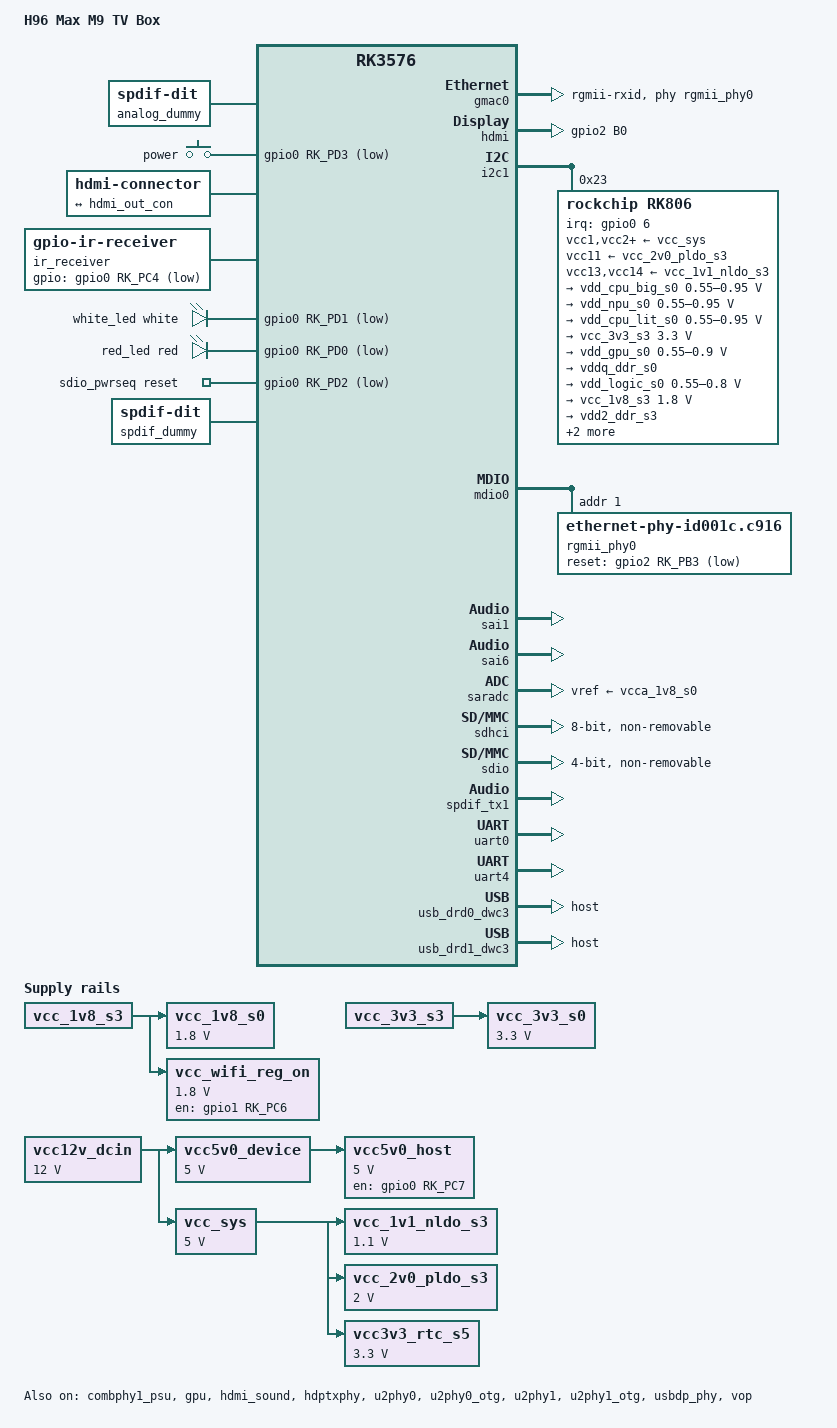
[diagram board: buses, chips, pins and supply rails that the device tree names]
// SPDX-License-Identifier: (GPL-2.0+ OR MIT)
/*
 * Copyright (c) 2024 Rockchip Electronics Co., Ltd.
 *
 * H96 MAX M9 and M9S, an RK3576 TV box. Storage is eMMC only: the microSD
 * footprint is not populated. Wi-Fi and Bluetooth are an AIC8800D80 on SDIO
 * and UART4.
 */

/dts-v1/;

#include <dt-bindings/gpio/gpio.h>
#include <dt-bindings/input/input.h>
#include <dt-bindings/leds/common.h>
#include <dt-bindings/pinctrl/rockchip.h>
#include <dt-bindings/soc/rockchip,boot-mode.h>
#include <dt-bindings/soc/rockchip,vop2.h>
#include "rk3576.dtsi"

/ {
	model = "H96 Max M9 TV Box";
	compatible = "haochuangyi,h96-max-m9", "rockchip,rk3576";

	aliases {
		ethernet0 = &gmac0;
	};

	/*
	 * The analog jack's HT5010 codec has no control interface, so a
	 * dummy codec stands in for it.
	 */
	analog_dummy: analog-codec {
		compatible = "linux,spdif-dit";
		#sound-dai-cells = <0>;
	};

	analog_sound: analog-sound {
		compatible = "simple-audio-card";
		simple-audio-card,name = "H96 Analog";
		simple-audio-card,format = "i2s";
		simple-audio-card,mclk-fs = <256>;

		/*
		 * Nothing else enables the MCLK output gate. This reference
		 * holds it on while the card is open.
		 */
		simple-audio-card,cpu {
			sound-dai = <&sai1>;
			clocks = <&cru CLK_SAI1_MCLKOUT_TO_IO>;
		};

		simple-audio-card,codec {
			sound-dai = <&analog_dummy>;
		};
	};

	chosen: chosen {
		stdout-path = "serial0:1500000n8";
	};

	/*
	 * No button is fitted to this input. The bundled remote's POWER key
	 * wakes the box through it.
	 */
	gpio_keys: gpio-keys {
		compatible = "gpio-keys";
		pinctrl-names = "default";
		pinctrl-0 = <&pwr_key>;

		key-power {
			debounce-interval = <100>;
			gpios = <&gpio0 RK_PD3 GPIO_ACTIVE_LOW>;
			label = "power";
			linux,code = <KEY_POWER>;
			wakeup-source;
		};
	};

	hdmi-con {
		compatible = "hdmi-connector";
		type = "a";

		port {
			hdmi_con_in: endpoint {
				remote-endpoint = <&hdmi_out_con>;
			};
		};
	};

	/*
	 * IR receiver. The bundled remote is RF, not IR, but other H96 IR
	 * remotes work. Mainline has no driver for the PWM IR capture block,
	 * so the pin is a GPIO and rc-core decodes the frames.
	 */
	ir_receiver: ir-receiver {
		compatible = "gpio-ir-receiver";
		gpios = <&gpio0 RK_PC4 GPIO_ACTIVE_LOW>;
		linux,rc-map-name = "rc-empty";
		pinctrl-names = "default";
		pinctrl-0 = <&ir_receiver_pin>;
	};

	leds: leds {
		compatible = "gpio-leds";

		white_led: led-0 {
			color = <LED_COLOR_ID_WHITE>;
			default-state = "on";
			function = LED_FUNCTION_POWER;
			gpios = <&gpio0 RK_PD1 GPIO_ACTIVE_LOW>;
		};

		red_led: led-1 {
			color = <LED_COLOR_ID_RED>;
			default-state = "off";
			function = LED_FUNCTION_STANDBY;
			gpios = <&gpio0 RK_PD0 GPIO_ACTIVE_LOW>;
		};
	};

	vcc_1v1_nldo_s3: regulator-vcc-1v1-nldo-s3 {
		compatible = "regulator-fixed";
		regulator-name = "vcc_1v1_nldo_s3";
		regulator-boot-on;
		regulator-always-on;
		regulator-min-microvolt = <1100000>;
		regulator-max-microvolt = <1100000>;
		vin-supply = <&vcc_sys>;
	};

	vcc_1v8_s0: regulator-vcc-1v8-s0 {
		compatible = "regulator-fixed";
		regulator-name = "vcc_1v8_s0";
		regulator-boot-on;
		regulator-always-on;
		regulator-min-microvolt = <1800000>;
		regulator-max-microvolt = <1800000>;
		vin-supply = <&vcc_1v8_s3>;
	};

	vcc_2v0_pldo_s3: regulator-vcc-2v0-pldo-s3 {
		compatible = "regulator-fixed";
		regulator-name = "vcc_2v0_pldo_s3";
		regulator-boot-on;
		regulator-always-on;
		regulator-min-microvolt = <2000000>;
		regulator-max-microvolt = <2000000>;
		vin-supply = <&vcc_sys>;
	};

	vcc_3v3_s0: regulator-vcc-3v3-s0 {
		compatible = "regulator-fixed";
		regulator-name = "vcc_3v3_s0";
		regulator-boot-on;
		regulator-always-on;
		regulator-min-microvolt = <3300000>;
		regulator-max-microvolt = <3300000>;
		vin-supply = <&vcc_3v3_s3>;
	};

	vcc12v_dcin: regulator-vcc12v-dcin {
		compatible = "regulator-fixed";
		regulator-name = "vcc12v_dcin";
		regulator-always-on;
		regulator-boot-on;
		regulator-min-microvolt = <12000000>;
		regulator-max-microvolt = <12000000>;
	};

	vcc3v3_rtc_s5: regulator-vcc3v3-rtc-s5 {
		compatible = "regulator-fixed";
		regulator-name = "vcc3v3_rtc_s5";
		regulator-boot-on;
		regulator-always-on;
		regulator-min-microvolt = <3300000>;
		regulator-max-microvolt = <3300000>;
		vin-supply = <&vcc_sys>;
	};

	vcc5v0_device: regulator-vcc5v0-device {
		compatible = "regulator-fixed";
		regulator-name = "vcc5v0_device";
		regulator-always-on;
		regulator-boot-on;
		regulator-min-microvolt = <5000000>;
		regulator-max-microvolt = <5000000>;
		vin-supply = <&vcc12v_dcin>;
	};

	vcc5v0_host: regulator-vcc5v0-host {
		compatible = "regulator-fixed";
		regulator-name = "vcc5v0_host";
		regulator-boot-on;
		regulator-always-on;
		regulator-min-microvolt = <5000000>;
		regulator-max-microvolt = <5000000>;
		enable-active-high;
		gpios = <&gpio0 RK_PC7 GPIO_ACTIVE_HIGH>;
		pinctrl-names = "default";
		pinctrl-0 = <&usb_host_pwren>;
		vin-supply = <&vcc5v0_device>;
	};

	vcc_sys: regulator-vcc5v0-sys {
		compatible = "regulator-fixed";
		regulator-name = "vcc_sys";
		regulator-always-on;
		regulator-boot-on;
		regulator-min-microvolt = <5000000>;
		regulator-max-microvolt = <5000000>;
		vin-supply = <&vcc12v_dcin>;
	};

	vcc_wifi_reg_on: regulator-wifi-reg-on {
		compatible = "regulator-fixed";
		regulator-name = "wifi_reg_on";
		regulator-always-on;
		regulator-boot-on;
		regulator-min-microvolt = <1800000>;
		regulator-max-microvolt = <1800000>;
		enable-active-high;
		gpios = <&gpio1 RK_PC6 GPIO_ACTIVE_HIGH>;
		pinctrl-names = "default";
		pinctrl-0 = <&wifi_reg_on>;
		vin-supply = <&vcc_1v8_s3>;
	};

	/*
	 * The Wi-Fi module needs 500 ms after reset. A shorter delay loses
	 * the boot-time probe.
	 */
	sdio_pwrseq: sdio-pwrseq {
		compatible = "mmc-pwrseq-simple";
		pinctrl-names = "default";
		pinctrl-0 = <&wifi_enable_h>;
		post-power-on-delay-ms = <500>;
		reset-gpios = <&gpio0 RK_PD2 GPIO_ACTIVE_LOW>;
	};

	spdif_dummy: spdif-codec {
		compatible = "linux,spdif-dit";
		#sound-dai-cells = <0>;
	};

	spdif_sound: spdif-sound {
		compatible = "simple-audio-card";
		simple-audio-card,name = "H96 SPDIF";
		simple-audio-card,mclk-fs = <128>;

		simple-audio-card,cpu {
			sound-dai = <&spdif_tx1>;
		};

		simple-audio-card,codec {
			sound-dai = <&spdif_dummy>;
		};
	};
};

/* No PCIe or SATA. This PHY carries the SuperSpeed lane of usb_drd1. */
&combphy1_psu {
	status = "okay";
};

&cpu_b0 {
	cpu-supply = <&vdd_cpu_big_s0>;
};

&cpu_l0 {
	cpu-supply = <&vdd_cpu_lit_s0>;
};

&gmac0 {
	clock_in_out = "output";
	phy-handle = <&rgmii_phy0>;
	phy-mode = "rgmii-rxid";
	pinctrl-names = "default";
	pinctrl-0 = <&eth0m0_miim
		     &eth0m0_tx_bus2
		     &eth0m0_rx_bus2
		     &eth0m0_rgmii_clk
		     &eth0m0_rgmii_bus
		     &ethm0_clk0_25m_out>;
	tx_delay = <0x1b>;
	status = "okay";
};

&gpu {
	mali-supply = <&vdd_gpu_s0>;
	status = "okay";
};

/*
 * gpio2 PB0 is low for HDMI 2.1 FRL and high for TMDS. The pinctrl-0 list
 * restates the SoC default groups, because it replaces them.
 */
&hdmi {
	frl-enable-gpios = <&gpio2 RK_PB0 GPIO_ACTIVE_LOW>;
	pinctrl-names = "default";
	pinctrl-0 = <&hdmi_txm0_pins &hdmi_tx_scl &hdmi_tx_sda &hdmi_frl_en>;
	status = "okay";
};

&hdmi_in {
	hdmi_in_vp0: endpoint {
		remote-endpoint = <&vp0_out_hdmi>;
	};
};

&hdmi_out {
	hdmi_out_con: endpoint {
		remote-endpoint = <&hdmi_con_in>;
	};
};

&hdmi_sound {
	status = "okay";
};

&hdptxphy {
	status = "okay";
};

&i2c1 {
	status = "okay";

	rk806: pmic@23 {
		compatible = "rockchip,rk806";
		reg = <0x23>;
		interrupt-parent = <&gpio0>;
		interrupts = <6 IRQ_TYPE_LEVEL_LOW>;
		gpio-controller;
		#gpio-cells = <2>;
		pinctrl-names = "default";
		pinctrl-0 = <&pmic_pins>, <&rk806_dvs1_null>,
			    <&rk806_dvs2_null>, <&rk806_dvs3_null>;
		system-power-controller;

		vcc1-supply = <&vcc_sys>;
		vcc2-supply = <&vcc_sys>;
		vcc3-supply = <&vcc_sys>;
		vcc4-supply = <&vcc_sys>;
		vcc5-supply = <&vcc_sys>;
		vcc6-supply = <&vcc_sys>;
		vcc7-supply = <&vcc_sys>;
		vcc8-supply = <&vcc_sys>;
		vcc9-supply = <&vcc_sys>;
		vcc10-supply = <&vcc_sys>;
		vcc11-supply = <&vcc_2v0_pldo_s3>;
		vcc12-supply = <&vcc_sys>;
		vcc13-supply = <&vcc_1v1_nldo_s3>;
		vcc14-supply = <&vcc_1v1_nldo_s3>;
		vcca-supply = <&vcc_sys>;

		rk806_dvs1_null: dvs1-null-pins {
			pins = "gpio_pwrctrl1";
			function = "pin_fun0";
		};

		rk806_dvs2_null: dvs2-null-pins {
			pins = "gpio_pwrctrl2";
			function = "pin_fun0";
		};

		rk806_dvs3_null: dvs3-null-pins {
			pins = "gpio_pwrctrl3";
			function = "pin_fun0";
		};

		regulators {
			vdd_cpu_big_s0: dcdc-reg1 {
				regulator-always-on;
				regulator-boot-on;
				regulator-min-microvolt = <550000>;
				regulator-max-microvolt = <950000>;
				regulator-ramp-delay = <12500>;
				regulator-name = "vdd_cpu_big_s0";
				regulator-enable-ramp-delay = <400>;

				regulator-state-mem {
					regulator-off-in-suspend;
				};
			};

			vdd_npu_s0: dcdc-reg2 {
				regulator-boot-on;
				regulator-min-microvolt = <550000>;
				regulator-max-microvolt = <950000>;
				regulator-ramp-delay = <12500>;
				regulator-name = "vdd_npu_s0";
				regulator-enable-ramp-delay = <400>;

				regulator-state-mem {
					regulator-off-in-suspend;
				};
			};

			vdd_cpu_lit_s0: dcdc-reg3 {
				regulator-always-on;
				regulator-boot-on;
				regulator-min-microvolt = <550000>;
				regulator-max-microvolt = <950000>;
				regulator-ramp-delay = <12500>;
				regulator-name = "vdd_cpu_lit_s0";

				regulator-state-mem {
					regulator-off-in-suspend;
					regulator-suspend-microvolt = <750000>;
				};
			};

			vcc_3v3_s3: dcdc-reg4 {
				regulator-always-on;
				regulator-boot-on;
				regulator-min-microvolt = <3300000>;
				regulator-max-microvolt = <3300000>;
				regulator-name = "vcc_3v3_s3";

				regulator-state-mem {
					regulator-on-in-suspend;
					regulator-suspend-microvolt = <3300000>;
				};
			};

			vdd_gpu_s0: dcdc-reg5 {
				regulator-boot-on;
				regulator-min-microvolt = <550000>;
				regulator-max-microvolt = <900000>;
				regulator-ramp-delay = <12500>;
				regulator-name = "vdd_gpu_s0";
				regulator-enable-ramp-delay = <400>;

				regulator-state-mem {
					regulator-off-in-suspend;
					regulator-suspend-microvolt = <850000>;
				};
			};

			vddq_ddr_s0: dcdc-reg6 {
				regulator-always-on;
				regulator-boot-on;
				regulator-name = "vddq_ddr_s0";

				regulator-state-mem {
					regulator-off-in-suspend;
				};
			};

			vdd_logic_s0: dcdc-reg7 {
				regulator-always-on;
				regulator-boot-on;
				regulator-min-microvolt = <550000>;
				regulator-max-microvolt = <800000>;
				regulator-name = "vdd_logic_s0";

				regulator-state-mem {
					regulator-off-in-suspend;
				};
			};

			vcc_1v8_s3: dcdc-reg8 {
				regulator-always-on;
				regulator-boot-on;
				regulator-min-microvolt = <1800000>;
				regulator-max-microvolt = <1800000>;
				regulator-name = "vcc_1v8_s3";

				regulator-state-mem {
					regulator-on-in-suspend;
					regulator-suspend-microvolt = <1800000>;
				};
			};

			vdd2_ddr_s3: dcdc-reg9 {
				regulator-always-on;
				regulator-boot-on;
				regulator-name = "vdd2_ddr_s3";

				regulator-state-mem {
					regulator-on-in-suspend;
				};
			};

			vdd_ddr_s0: dcdc-reg10 {
				regulator-always-on;
				regulator-boot-on;
				regulator-min-microvolt = <550000>;
				regulator-max-microvolt = <1200000>;
				regulator-name = "vdd_ddr_s0";

				regulator-state-mem {
					regulator-off-in-suspend;
				};
			};

			vcca_1v8_s0: pldo-reg1 {
				regulator-always-on;
				regulator-boot-on;
				regulator-min-microvolt = <1800000>;
				regulator-max-microvolt = <1800000>;
				regulator-name = "vcca_1v8_s0";

				regulator-state-mem {
					regulator-off-in-suspend;
				};
			};

			vcca1v8_pldo2_s0: pldo-reg2 {
				regulator-always-on;
				regulator-boot-on;
				regulator-min-microvolt = <1800000>;
				regulator-max-microvolt = <1800000>;
				regulator-name = "vcca1v8_pldo2_s0";

				regulator-state-mem {
					regulator-off-in-suspend;
				};
			};

			vdda_1v2_s0: pldo-reg3 {
				regulator-always-on;
				regulator-boot-on;
				regulator-min-microvolt = <1200000>;
				regulator-max-microvolt = <1200000>;
				regulator-name = "vdda_1v2_s0";

				regulator-state-mem {
					regulator-off-in-suspend;
				};
			};

			vcca_3v3_s0: pldo-reg4 {
				regulator-always-on;
				regulator-boot-on;
				regulator-min-microvolt = <3300000>;
				regulator-max-microvolt = <3300000>;
				regulator-name = "vcca_3v3_s0";

				regulator-state-mem {
					regulator-off-in-suspend;
				};
			};

			vccio_sd_s0: pldo-reg5 {
				regulator-always-on;
				regulator-boot-on;
				regulator-min-microvolt = <1800000>;
				regulator-max-microvolt = <3300000>;
				regulator-name = "vccio_sd_s0";

				regulator-state-mem {
					regulator-off-in-suspend;
				};
			};

			vcca1v8_pldo6_s3: pldo-reg6 {
				regulator-always-on;
				regulator-boot-on;
				regulator-min-microvolt = <1800000>;
				regulator-max-microvolt = <1800000>;
				regulator-name = "vcca1v8_pldo6_s3";

				regulator-state-mem {
					regulator-on-in-suspend;
					regulator-suspend-microvolt = <1800000>;
				};
			};

			vdd_0v75_s3: nldo-reg1 {
				regulator-always-on;
				regulator-boot-on;
				regulator-min-microvolt = <550000>;
				regulator-max-microvolt = <750000>;
				regulator-name = "vdd_0v75_s3";

				regulator-state-mem {
					regulator-on-in-suspend;
					regulator-suspend-microvolt = <750000>;
				};
			};

			vdda_ddr_pll_s0: nldo-reg2 {
				regulator-always-on;
				regulator-boot-on;
				regulator-min-microvolt = <850000>;
				regulator-max-microvolt = <850000>;
				regulator-name = "vdda_ddr_pll_s0";

				regulator-state-mem {
					regulator-off-in-suspend;
				};
			};

			vdda0v75_hdmi_s0: nldo-reg3 {
				regulator-boot-on;
				regulator-min-microvolt = <837500>;
				regulator-max-microvolt = <837500>;
				regulator-name = "vdda0v75_hdmi_s0";

				regulator-state-mem {
					regulator-off-in-suspend;
				};
			};

			vdda_0v85_s0: nldo-reg4 {
				regulator-always-on;
				regulator-boot-on;
				regulator-min-microvolt = <850000>;
				regulator-max-microvolt = <850000>;
				regulator-name = "vdda_0v85_s0";

				regulator-state-mem {
					regulator-off-in-suspend;
				};
			};

			vdda_0v75_s0: nldo-reg5 {
				regulator-always-on;
				regulator-boot-on;
				regulator-min-microvolt = <750000>;
				regulator-max-microvolt = <750000>;
				regulator-name = "vdda_0v75_s0";

				regulator-state-mem {
					regulator-off-in-suspend;
				};
			};
		};
	};
};

/* i2c2 stays disabled. The EVB's HYM8563 RTC is not fitted on this board. */

&mdio0 {
	rgmii_phy0: ethernet-phy@1 {
		compatible = "ethernet-phy-id001c.c916";
		reg = <0x1>;
		clocks = <&cru REFCLKO25M_GMAC0_OUT>;
		assigned-clocks = <&cru REFCLKO25M_GMAC0_OUT>;
		assigned-clock-rates = <25000000>;
		pinctrl-names = "default";
		pinctrl-0 = <&rgmii_phy0_rst>;
		reset-assert-us = <20000>;
		reset-deassert-us = <100000>;
		reset-gpios = <&gpio2 RK_PB3 GPIO_ACTIVE_LOW>;
	};
};

/* The GPU domain must enable its rail first, or a late GPU probe faults. */
&pd_gpu {
	domain-supply = <&vdd_gpu_s0>;
};

&pinctrl {
	hdmi {
		hdmi_frl_en: hdmi-frl-en {
			rockchip,pins = <2 RK_PB0 RK_FUNC_GPIO &pcfg_pull_none>;
		};
	};

	ir {
		ir_receiver_pin: ir-receiver-pin {
			rockchip,pins = <0 RK_PC4 RK_FUNC_GPIO &pcfg_pull_none>;
		};
	};

	keys {
		pwr_key: pwr-key {
			rockchip,pins = <0 RK_PD3 RK_FUNC_GPIO &pcfg_pull_up>;
		};
	};

	network {
		rgmii_phy0_rst: rgmii-phy0-rst {
			rockchip,pins = <2 RK_PB3 RK_FUNC_GPIO &pcfg_pull_none>;
		};
	};

	usb {
		usb_host_pwren: usb-host-pwren {
			rockchip,pins = <0 RK_PC7 RK_FUNC_GPIO &pcfg_pull_none>;
		};
	};

	wifi {
		wifi_enable_h: wifi-enable-h {
			rockchip,pins = <0 RK_PD2 RK_FUNC_GPIO &pcfg_pull_none>;
		};

		wifi_reg_on: wifi-reg-on {
			rockchip,pins = <1 RK_PC6 RK_FUNC_GPIO &pcfg_pull_up>;
		};
	};
};

&pmu0_grf {
	reboot-mode {
		compatible = "syscon-reboot-mode";
		offset = <0x40>;
		mode-normal = <BOOT_NORMAL>;
		mode-loader = <BOOT_BL_DOWNLOAD>;
		mode-bootloader = <BOOT_BL_DOWNLOAD>;
		mode-recovery = <BOOT_RECOVERY>;
		mode-fastboot = <BOOT_FASTBOOT>;
		mode-ums = <(REBOOT_FLAG + 0xc)>;
	};
};

/*
 * The analog codec is on SDO port 2. Entry N of the route selects the TX
 * stream for SDO port N, so <0 1 0> sends stream 0 to port 2.
 */
&sai1 {
	assigned-clocks = <&cru CLK_SAI1_MCLKOUT_TO_IO>;
	assigned-clock-rates = <12288000>;
	pinctrl-names = "default";
	pinctrl-0 = <&sai1m0_lrck
		     &sai1m0_sclk
		     &sai1m0_sdi0
		     &sai1m0_sdo2
		     &sai1m0_mclk>;
	rockchip,sai-tx-route = <0 1 0>;
	status = "okay";
};

&sai6 {
	status = "okay";
};

&saradc {
	vref-supply = <&vcca_1v8_s0>;
	status = "okay";
};

&sdhci {
	bus-width = <8>;
	full-pwr-cycle-in-suspend;
	max-frequency = <200000000>;
	mmc-hs400-1_8v;
	mmc-hs400-enhanced-strobe;
	no-sdio;
	no-sd;
	non-removable;
	status = "okay";
};

/* The aic8800 driver suspends cleanly only with keep-power-in-suspend. */
&sdio {
	bus-width = <4>;
	cap-sd-highspeed;
	cap-sdio-irq;
	disable-wp;
	keep-power-in-suspend;
	max-frequency = <100000000>;
	mmc-pwrseq = <&sdio_pwrseq>;
	no-mmc;
	no-sd;
	non-removable;
	pinctrl-names = "default";
	pinctrl-0 = <&sdmmc1m0_bus4 &sdmmc1m0_clk &sdmmc1m0_cmd>;
	sd-uhs-sdr104;
	vqmmc-supply = <&vccio_sd_s0>;
	status = "okay";
};

&spdif_tx1 {
	pinctrl-names = "default";
	pinctrl-0 = <&spdifm1_tx1>;
	status = "okay";
};

&u2phy0 {
	status = "okay";
};

&u2phy0_otg {
	status = "okay";
};

&u2phy1 {
	status = "okay";
};

&u2phy1_otg {
	phy-supply = <&vcc5v0_host>;
	status = "okay";
};

&uart0 {
	status = "okay";
};

/*
 * Bluetooth HCI, 1500000 baud with flow control. Userspace drives BT_REG_ON
 * (gpio1 PC7) and HST_WAK_BT (gpio1 PD4) high after the Wi-Fi firmware
 * loads. The controller wakes on that rising edge, so a gpio-hog fails.
 */
&uart4 {
	pinctrl-names = "default";
	pinctrl-0 = <&uart4m1_xfer &uart4m1_ctsn &uart4m1_rtsn>;
	uart-has-rtscts;
	status = "okay";
};

/*
 * The blue USB 3.0 port. dis_u2_susphy_quirk lets the USB2 PHY leave
 * suspend on resume, which avoids an xHC resume error.
 */
&usb_drd0_dwc3 {
	dr_mode = "host";
	snps,dis_u2_susphy_quirk;
	status = "okay";
};

/*
 * The black USB 2.0 ports, behind an internal hub. The SuperSpeed lane
 * reaches no connector, but the controller still needs its USB3 PHY.
 * Without it, root hub init takes an SError.
 */
&usb_drd1_dwc3 {
	dr_mode = "host";
	snps,dis_u2_susphy_quirk;
	status = "okay";
};

/* Lanes 2 and 3 go to DisplayPort, which has no connector. USB3 uses 0 and 1. */
&usbdp_phy {
	rockchip,dp-lane-mux = <2 3>;
	status = "okay";
};

&vop {
	status = "okay";
};

&vop_mmu {
	status = "okay";
};

&vp0 {
	vp0_out_hdmi: endpoint@ROCKCHIP_VOP2_EP_HDMI0 {
		reg = <ROCKCHIP_VOP2_EP_HDMI0>;
		remote-endpoint = <&hdmi_in_vp0>;
	};
};
